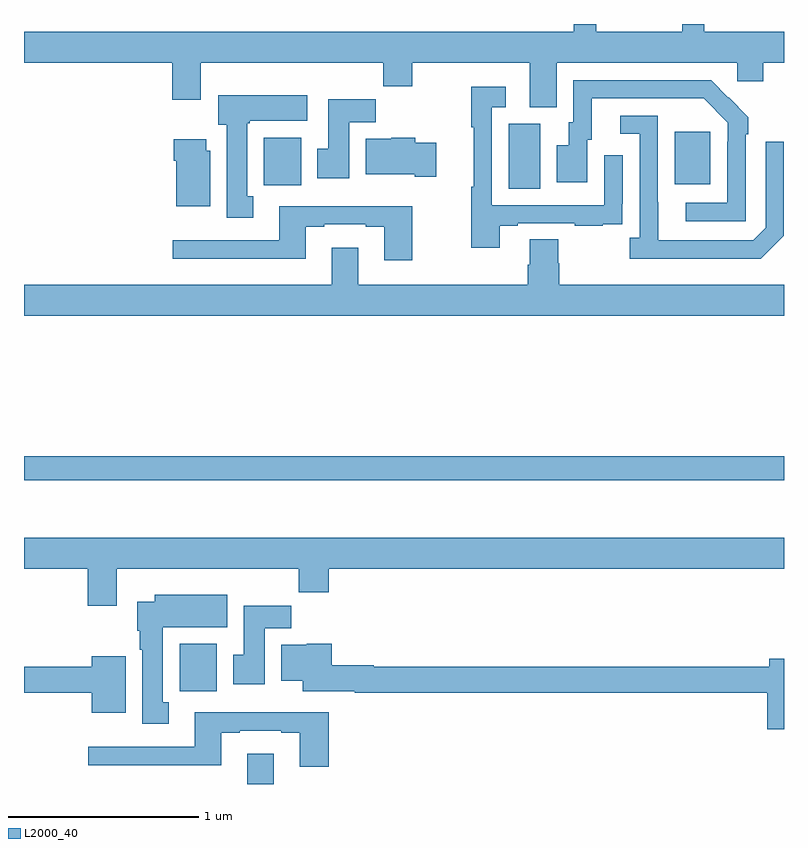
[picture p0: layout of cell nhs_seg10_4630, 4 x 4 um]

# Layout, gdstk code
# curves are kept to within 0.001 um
import gdstk
lib = gdstk.Library(unit=1e-6, precision=1e-09)
def R(c, l, rs):  # rectangles x0, y0, x1, y1
    for r in rs: c.add(gdstk.rectangle(r[:2], r[2:], *l))
def P(c, l, *ps):  # polygons
    for p in ps: c.add(gdstk.Polygon(p, *l))
L2000_40 = (2000, 40)

nhs_seg10_4630 = lib.new_cell('nhs_seg10_4630')
R(nhs_seg10_4630, L2000_40, [(376.175,1316.5,376.315,1316.659), (375.819,1316.988,376.015,1317.238), (375,1318.098,379,1318.226), (377.552,1319.632,377.716,1319.976), (376.263,1319.652,376.459,1319.902), (378.425,1319.657,378.613,1319.932)])
P(nhs_seg10_4630, L2000_40, [(377.803,1320.296),(378.753,1320.296),(378.753,1320.198),(378.892,1320.198),(378.892,1320.296),(379,1320.296),(379,1320.46),(378.581,1320.46),(378.581,1320.5),(378.464,1320.5),(378.464,1320.46),(378.011,1320.46),(378.011,1320.5),(377.893,1320.5),(377.893,1320.46),(375,1320.46),(375,1320.296),(375.779,1320.296),(375.779,1320.102),(375.931,1320.102),(375.931,1320.296),(376.891,1320.296),(376.891,1320.172),(377.043,1320.172),(377.043,1320.296),(377.663,1320.296),(377.663,1320.061),(377.803,1320.061)],
  [(378.798,1319.921),(378.813,1319.921),(378.813,1320.009),(378.616,1320.204),(377.892,1320.204),(377.892,1319.982),(377.867,1319.982),(377.867,1319.863),(377.804,1319.863),(377.804,1319.667),(377.965,1319.667),(377.965,1319.892),(377.989,1319.892),(377.989,1320.108),(378.577,1320.108),(378.705,1319.979),(378.705,1319.879),(378.702,1319.879),(378.702,1319.559),(378.483,1319.559),(378.483,1319.463),(378.798,1319.463)],
  [(377.503,1319.439),(377.599,1319.439),(377.599,1319.451),(377.899,1319.451),(377.899,1319.439),(378.047,1319.439),(378.047,1319.445),(378.149,1319.445),(378.149,1319.554),(378.15,1319.554),(378.15,1319.809),(378.054,1319.809),(378.054,1319.547),(377.463,1319.547),(377.463,1320.063),(377.536,1320.063),(377.536,1320.169),(377.355,1320.169),(377.355,1319.956),(377.366,1319.956),(377.366,1319.644),(377.355,1319.644),(377.355,1319.322),(377.503,1319.322)],
  [(376.207,1319.593),(376.174,1319.593),(376.174,1319.977),(376.188,1319.977),(376.188,1319.99),(376.492,1319.99),(376.492,1320.124),(376.022,1320.124),(376.022,1319.97),(376.067,1319.97),(376.067,1319.481),(376.207,1319.481)],
  [(376.711,1319.984),(376.85,1319.984),(376.85,1320.103),(376.601,1320.103),(376.601,1319.844),(376.544,1319.844),(376.544,1319.688),(376.711,1319.688)],
  [(378.999,1319.385),(378.999,1319.881),(378.903,1319.881),(378.903,1319.427),(378.837,1319.361),(378.337,1319.361),(378.336,1320.018),(378.138,1320.018),(378.138,1319.922),(378.24,1319.922),(378.24,1319.374),(378.189,1319.374),(378.189,1319.264),(378.878,1319.264)],
  [(377.17,1319.874),(377.058,1319.874),(377.058,1319.902),(376.932,1319.902),(376.932,1319.896),(376.799,1319.896),(376.799,1319.708),(377.057,1319.708),(377.057,1319.696),(377.17,1319.696)],
  [(375.979,1319.832),(375.958,1319.832),(375.958,1319.893),(375.788,1319.893),(375.788,1319.78),(375.8,1319.78),(375.8,1319.54),(375.979,1319.54)],
  [(377.043,1319.542),(376.343,1319.542),(376.343,1319.361),(375.783,1319.361),(375.783,1319.264),(376.483,1319.264),(376.483,1319.433),(376.579,1319.433),(376.579,1319.445),(376.799,1319.445),(376.799,1319.433),(376.895,1319.433),(376.895,1319.256),(377.043,1319.256)],
  [(379,1319.128),(377.816,1319.128),(377.816,1319.241),(377.811,1319.241),(377.811,1319.366),(377.663,1319.366),(377.663,1319.234),(377.651,1319.234),(377.651,1319.128),(376.759,1319.128),(376.759,1319.323),(376.619,1319.323),(376.619,1319.128),(375,1319.128),(375,1318.964),(379,1318.964)],
  [(375.487,1317.632),(376.447,1317.632),(376.447,1317.508),(376.604,1317.508),(376.604,1317.632),(379,1317.632),(379,1317.796),(375,1317.796),(375,1317.632),(375.335,1317.632),(375.335,1317.438),(375.487,1317.438)],
  [(375.763,1316.929),(375.73,1316.929),(375.73,1317.326),(376.069,1317.326),(376.069,1317.496),(375.689,1317.496),(375.689,1317.46),(375.596,1317.46),(375.596,1317.306),(375.608,1317.306),(375.608,1317.206),(375.623,1317.206),(375.623,1316.817),(375.763,1316.817)],
  [(376.267,1317.32),(376.406,1317.32),(376.406,1317.438),(376.157,1317.438),(376.157,1317.18),(376.1,1317.18),(376.1,1317.024),(376.267,1317.024)],
  [(379,1317.16),(378.923,1317.16),(378.923,1317.116),(376.842,1317.116),(376.842,1317.124),(376.619,1317.124),(376.619,1317.238),(376.488,1317.238),(376.488,1317.232),(376.355,1317.232),(376.355,1317.044),(376.466,1317.044),(376.466,1316.987),(376.742,1316.987),(376.742,1316.98),(378.911,1316.98),(378.911,1316.787),(379,1316.787)],
  [(375.535,1317.172),(375.356,1317.172),(375.356,1317.116),(375,1317.116),(375,1316.98),(375.356,1316.98),(375.356,1316.876),(375.535,1316.876)],
  [(376.604,1316.878),(375.899,1316.878),(375.899,1316.697),(375.339,1316.697),(375.339,1316.6),(376.039,1316.6),(376.039,1316.769),(376.135,1316.769),(376.135,1316.781),(376.355,1316.781),(376.355,1316.769),(376.451,1316.769),(376.451,1316.592),(376.604,1316.592)])

lib.write_gds('nhs_seg10_4630.gds')
